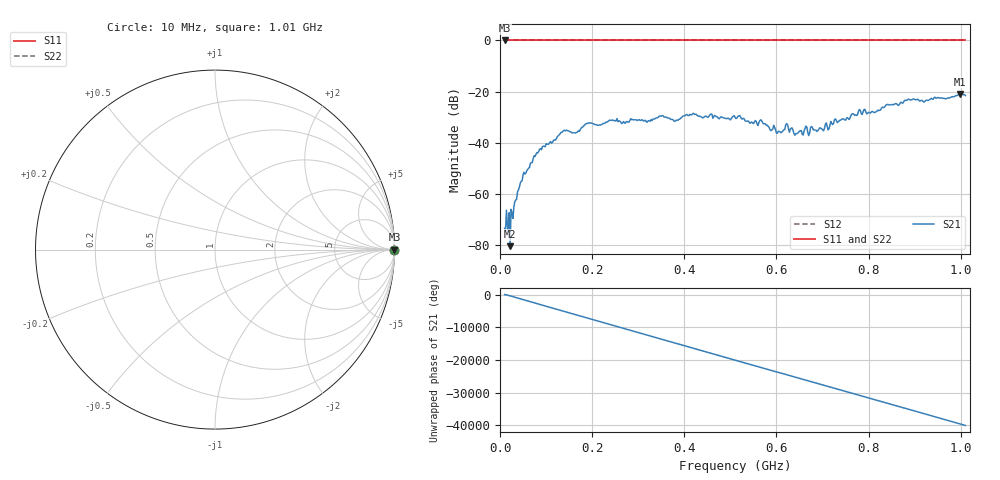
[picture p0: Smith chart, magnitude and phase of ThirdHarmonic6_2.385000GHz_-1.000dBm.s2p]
! 8/17/2025 3:49:48 AM
! C:\ANRITSUVNA\TEMP\TEMP.S2P
! CHANNEL.1
! TR.MEASUREMENT
! RAW.DATA
! RF.CORRECTION.OFF
! AVERAGING.OFF
! IF.BANDWIDTH: 5KHZ
! SWEEPTYPE:  FREQ.SWEEP(Linear)
! Reference Plane Port Info
! PORT:  PORT1  PORT2
! DISTANCE:  0  m  0  m
! TIME:  0  s  0  s
! PHASE.OFFSET:  0  deg.  0  deg.
! LOSS:  0  dB  0  dB
! REF.LOSS:  0  dB  0  dB
! REF.FREQ:  0  Hz  0  Hz
! Power Info
! POWER:  -20  dBm  -20  dBm
! EFF.POWER:  -20  dBm  -20  dBm
! SOURCE.ATTEN:  0  dB  0  dB
! TEST.ATTEN:  0  dB  0  dB
# GHZ S RI R 50.0
! FREQ.GHZ  S11RE  S11IM  S21RE  S21IM  S12RE  S12IM  S22RE  S22IM
!; PortSelection: Port_12
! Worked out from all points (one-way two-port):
!   501 points, 10 MHz to 1.01 GHz, reference 50 ohm
!   highest |S21| = -20.90 dB at 998 MHz (marker M1); lowest = -80.5 dB at 22 MHz (marker M2)
!   lowest |S11| = 0.0 dB at 10 MHz (marker M3)
!   |S11| at or under -10 dB: nowhere
!   |S22| runs from 0.0 to 0.0 dB; largest |S21 - S12| = 1.1
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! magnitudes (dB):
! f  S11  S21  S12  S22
! 10 MHz  0.0  -73.5  0.0  0.0
! 22 MHz  0.0  -80.5  0.0  0.0
! 48 MHz  0.0  -54.9  0.0  0.0
! 76 MHz  0.0  -45.4  0.0  0.0
! 136 MHz  0.0  -35.6  0.0  0.0
! 164 MHz  0.0  -36.2  0.0  0.0
! 178 MHz  0.0  -34.0  0.0  0.0
! 344 MHz  0.0  -30.0  0.0  0.0
! 382 MHz  0.0  -31.2  0.0  0.0
! 422 MHz  0.0  -28.9  0.0  0.0
! 510 MHz  0.0  -30.0  0.0  0.0
! 568 MHz  0.0  -31.4  0.0  0.0
! 604 MHz  0.0  -35.5  0.0  0.0
! 622 MHz  0.0  -32.5  0.0  0.0
! 642 MHz  0.0  -36.5  0.0  0.0
! 678 MHz  0.0  -34.0  0.0  0.0
! 700 MHz  0.0  -34.9  0.0  0.0
! 780 MHz  0.0  -27.0  0.0  0.0
! 814 MHz  0.0  -28.1  0.0  0.0
! 844 MHz  0.0  -25.2  0.0  0.0
! 998 MHz  0.0  -20.9  0.0  0.0
! 1.01 GHz  0.0  -21.5  0.0  0.0
